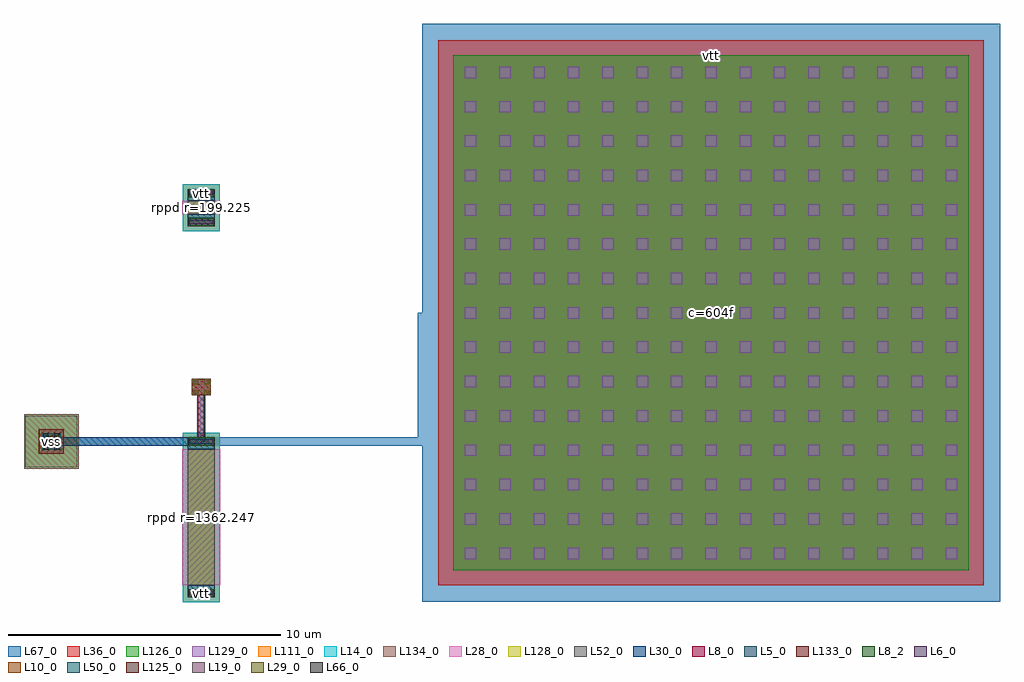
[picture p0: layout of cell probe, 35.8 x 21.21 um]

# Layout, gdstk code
import gdstk
lib = gdstk.Library(unit=1e-6, precision=1e-09)
def R(c, l, rs):  # rectangles x0, y0, x1, y1
    for r in rs: c.add(gdstk.rectangle(r[:2], r[2:], *l))
def A(c, l, x, y, w, h, nx, ny, dx, dy):  # array of equal rectangles
    R(c, l, [(x+i*dx, y+j*dy, x+i*dx+w, y+j*dy+h) for i in range(nx) for j in range(ny)])
L5_0 = (5, 0)
L6_0 = (6, 0)
L8_0 = (8, 0)
L8_2 = (8, 2)
L10_0 = (10, 0)
L14_0 = (14, 0)
L19_0 = (19, 0)
L28_0 = (28, 0)
L29_0 = (29, 0)
L30_0 = (30, 0)
L36_0 = (36, 0)
L50_0 = (50, 0)
L52_0 = (52, 0)
L66_0 = (66, 0)
L67_0 = (67, 0)
L111_0 = (111, 0)
L125_0 = (125, 0)
L126_0 = (126, 0)
L128_0 = (128, 0)
L129_0 = (129, 0)
L133_0 = (133, 0)
L134_0 = (134, 0)

probe = lib.new_cell('probe')
R(probe, L5_0, [(0,-0.43,1,-0.2), (0,-0.2,1,0), (0,5,1,5.2), (0,5.2,1,5.43), (0,13.18,1,13.41), (0,13.41,1,13.61), (0,14.11,1,14.31), (0,14.31,1,14.54)])
R(probe, L6_0, [(0.07,-0.36,0.93,-0.2), (0.07,5.2,0.93,5.36), (0.07,13.25,0.93,13.41), (0.07,14.31,0.93,14.47)])
R(probe, L8_0, [(0.02,-0.43,0.98,-0.13), (0.02,5.13,0.98,5.43), (0.38,5.16,0.62,7.4), (0.15,6.97,0.85,7.59), (0.02,13.18,0.98,13.48), (0.02,14.24,0.98,14.54)])
R(probe, L8_2, [(0.02,-0.43,0.98,-0.13), (0.02,5.13,0.98,5.43), (0.02,13.18,0.98,13.48), (0.02,14.24,0.98,14.54)])
R(probe, L10_0, [(0.15,6.975,0.85,7.585)])
R(probe, L14_0, [(-0.18,-0.61,1.18,0), (-0.18,0,1.18,5), (-0.18,5,1.18,5.61), (-0.18,13,1.18,13.61), (-0.18,13.61,1.18,14.11), (-0.18,14.11,1.18,14.72)])
R(probe, L19_0, [(0.2,6.98,0.39,7.17), (0.61,6.98,0.8,7.17), (0.2,7.39,0.39,7.58), (0.61,7.39,0.8,7.58)])
R(probe, L28_0, [(-0.2,0,1.2,5), (-0.2,13.61,1.2,14.11)])
R(probe, L29_0, [(0.2,6.98,0.39,7.17), (0.61,6.98,0.8,7.17), (0.2,7.39,0.39,7.58), (0.61,7.39,0.8,7.58)])
R(probe, L30_0, [(-5,5.13,0.5,5.43), (0.35,5.28,0.65,7.28), (0.15,6.975,0.85,7.585)])
R(probe, L36_0, [(9.2,0,29.2,20)])
R(probe, L50_0, [(-5.35,4.975,-4.65,5.585)])
R(probe, L52_0, [(0,0,1,5), (0,13.61,1,14.11)])
R(probe, L66_0, [(-5.3,4.98,-5.11,5.17), (-4.89,4.98,-4.7,5.17), (-5.3,5.39,-5.11,5.58), (-4.89,5.39,-4.7,5.58)])
R(probe, L67_0, [(8.6,-0.6,29.8,20.6), (-5.35,4.97,-4.65,5.59), (-5.31,4.97,-4.69,5.59), (-5,5.13,8.6,5.43), (8.45,5.28,8.75,10)])
R(probe, L111_0, [(-0.18,-0.61,1.18,0), (-0.2,0,1.2,5), (-0.18,5,1.18,5.61), (-0.18,13,1.18,13.61), (-0.2,13.61,1.2,14.11), (-0.18,14.11,1.18,14.72)])
R(probe, L125_0, [(-5.21,5.07,-4.79,5.49), (-5.21,5.07,-4.79,5.49)])
R(probe, L126_0, [(9.75,0.55,28.65,19.45), (-5.95,4.33,-4.05,6.23), (-5.95,4.33,-4.05,6.23)])
R(probe, L128_0, [(0,0,1,5), (0,13.61,1,14.11)])
A(probe, L129_0, 10.17, 0.97, 0.42, 0.42, 15, 15, 1.26, 1.26)
R(probe, L133_0, [(-5.45,4.83,-4.55,5.73), (-5.45,4.83,-4.55,5.73)])
R(probe, L134_0, [(-6,4.28,-4,6.28), (-6,4.28,-4,6.28)])
probe.add(gdstk.Label('rppd r=1362.247', (0.5,2.5), layer=63, texttype=0))
probe.add(gdstk.Label('rppd r=199.225', (0.5,13.86), layer=63, texttype=0))
probe.add(gdstk.Label('c=604f', (19.2,10), layer=63, texttype=0))
probe.add(gdstk.Label('cmim', (19.2,10), layer=63, texttype=0))
probe.add(gdstk.Label('rppd', (0.5,2.5), layer=52, texttype=0))
probe.add(gdstk.Label('rppd', (0.5,13.86), layer=52, texttype=0))
probe.add(gdstk.Label('vss', (-5,5.28), layer=67, texttype=25))
probe.add(gdstk.Label('vss', (-5,5.28), layer=30, texttype=25))
probe.add(gdstk.Label('vtt', (19.2,19.45), layer=126, texttype=25))
probe.add(gdstk.Label('vtt', (0.5,-0.28), layer=8, texttype=25))
probe.add(gdstk.Label('vtt', (0.5,14.39), layer=8, texttype=25))

lib.write_gds('probe.gds')
